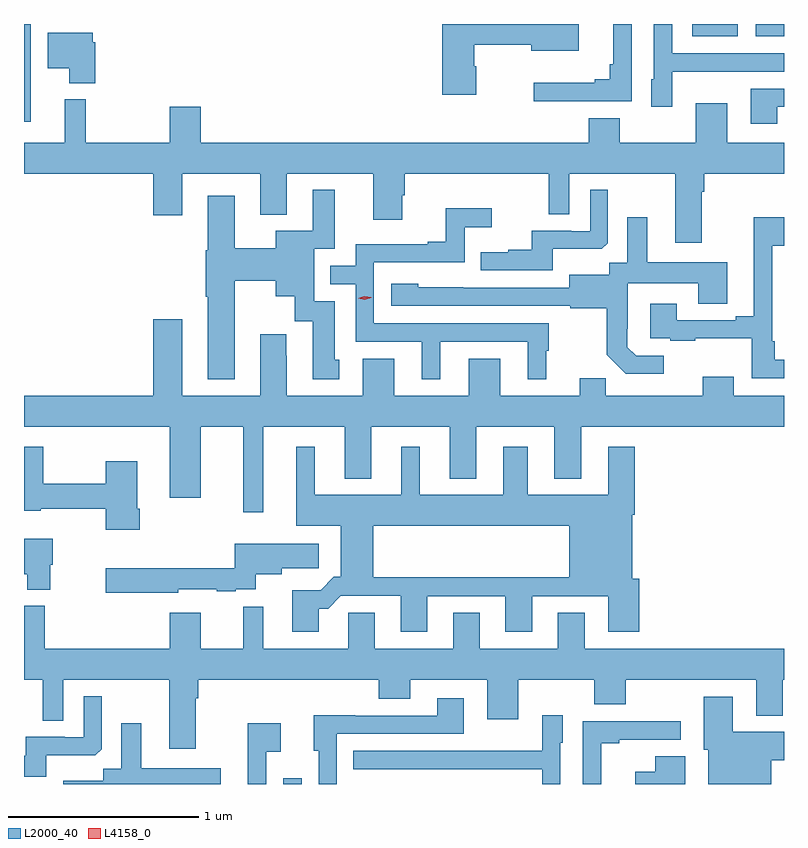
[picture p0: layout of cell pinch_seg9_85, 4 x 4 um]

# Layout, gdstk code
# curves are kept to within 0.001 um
import gdstk
lib = gdstk.Library(unit=1e-6, precision=1e-09)
def R(c, l, rs):  # rectangles x0, y0, x1, y1
    for r in rs: c.add(gdstk.rectangle(r[:2], r[2:], *l))
def P(c, l, *ps):  # polygons
    for p in ps: c.add(gdstk.Polygon(p, *l))
L2000_40 = (2000, 40)
L4158_0 = (4158, 0)

pinch_seg9_85 = lib.new_cell('pinch_seg9_85')
R(pinch_seg9_85, L2000_40, [(1112.658,1194.54,1112.754,1194.571), (1111.293,1198.026,1111.329,1198.54), (1114.811,1198.475,1115.05,1198.54), (1115.144,1198.475,1115.293,1198.54)])
P(pinch_seg9_85, L2000_40, [(1114.704,1198.289),(1115.021,1198.289),(1115.021,1198.29),(1115.293,1198.29),(1115.293,1198.386),(1114.704,1198.386),(1114.704,1198.54),(1114.608,1198.54),(1114.608,1198.248),(1114.595,1198.248),(1114.595,1198.104),(1114.704,1198.104)],
  [(1113.672,1198.317),(1113.664,1198.317),(1113.664,1198.432),(1113.962,1198.432),(1113.962,1198.4),(1114.213,1198.4),(1114.213,1198.54),(1113.494,1198.54),(1113.494,1198.167),(1113.672,1198.167)],
  [(1114.491,1198.54),(1114.394,1198.54),(1114.394,1198.327),(1114.375,1198.327),(1114.375,1198.25),(1114.298,1198.25),(1114.298,1198.231),(1113.975,1198.231),(1113.975,1198.134),(1114.491,1198.134)],
  [(1111.667,1198.443),(1111.654,1198.443),(1111.654,1198.495),(1111.418,1198.495),(1111.418,1198.307),(1111.532,1198.307),(1111.532,1198.229),(1111.667,1198.229)],
  [(1115.257,1198.104),(1115.293,1198.104),(1115.293,1198.2),(1115.117,1198.2),(1115.117,1198.014),(1115.257,1198.014)],
  [(1114.861,1197.656),(1114.874,1197.656),(1114.874,1197.752),(1115.293,1197.752),(1115.293,1197.916),(1114.993,1197.916),(1114.993,1198.123),(1114.829,1198.123),(1114.829,1197.916),(1114.429,1197.916),(1114.429,1198.045),(1114.265,1198.045),(1114.265,1197.916),(1112.224,1197.916),(1112.224,1198.105),(1112.06,1198.105),(1112.06,1197.916),(1111.618,1197.916),(1111.618,1198.144),(1111.508,1198.144),(1111.508,1197.916),(1111.293,1197.916),(1111.293,1197.752),(1111.973,1197.752),(1111.973,1197.534),(1112.125,1197.534),(1112.125,1197.752),(1112.537,1197.752),(1112.537,1197.536),(1112.677,1197.536),(1112.677,1197.752),(1113.131,1197.752),(1113.131,1197.51),(1113.283,1197.51),(1113.283,1197.639),(1113.296,1197.639),(1113.296,1197.752),(1114.056,1197.752),(1114.056,1197.538),(1114.164,1197.538),(1114.164,1197.752),(1114.721,1197.752),(1114.721,1197.39),(1114.861,1197.39)],
  [(1112.401,1197.188),(1112.618,1197.188),(1112.618,1197.107),(1112.717,1197.107),(1112.717,1196.976),(1112.813,1196.976),(1112.813,1196.67),(1112.953,1196.67),(1112.953,1196.772),(1112.929,1196.772),(1112.929,1197.081),(1112.82,1197.081),(1112.82,1197.357),(1112.929,1197.357),(1112.929,1197.667),(1112.813,1197.667),(1112.813,1197.451),(1112.618,1197.451),(1112.618,1197.36),(1112.401,1197.36),(1112.401,1197.637),(1112.261,1197.637),(1112.261,1197.348),(1112.249,1197.348),(1112.249,1197.104),(1112.261,1197.104),(1112.261,1196.669),(1112.401,1196.669)],
  [(1114.075,1197.356),(1114.333,1197.356),(1114.365,1197.387),(1114.365,1197.667),(1114.272,1197.667),(1114.272,1197.45),(1114.172,1197.45),(1114.172,1197.453),(1113.965,1197.453),(1113.965,1197.352),(1113.841,1197.352),(1113.841,1197.34),(1113.697,1197.34),(1113.697,1197.243),(1114.075,1197.243)],
  [(1113.484,1196.868),(1113.944,1196.868),(1113.944,1196.669),(1114.042,1196.669),(1114.042,1196.82),(1114.054,1196.82),(1114.054,1196.964),(1113.135,1196.964),(1113.135,1197.285),(1113.612,1197.285),(1113.612,1197.47),(1113.754,1197.47),(1113.754,1197.569),(1113.514,1197.569),(1113.514,1197.394),(1113.419,1197.394),(1113.419,1197.381),(1113.039,1197.381),(1113.039,1197.267),(1112.906,1197.267),(1112.906,1197.171),(1113.039,1197.171),(1113.039,1196.868),(1113.386,1196.868),(1113.386,1196.669),(1113.484,1196.669)],
  [(1114.66,1196.793),(1114.515,1196.793),(1114.468,1196.84),(1114.468,1196.935),(1114.47,1196.935),(1114.47,1197.176),(1114.841,1197.176),(1114.841,1197.067),(1114.993,1197.067),(1114.993,1197.286),(1114.573,1197.286),(1114.573,1197.523),(1114.469,1197.523),(1114.469,1197.284),(1114.374,1197.284),(1114.374,1197.22),(1114.163,1197.22),(1114.163,1197.153),(1113.369,1197.154),(1113.369,1197.172),(1113.225,1197.172),(1113.225,1197.057),(1114.167,1197.057),(1114.167,1197.045),(1114.359,1197.045),(1114.359,1196.799),(1114.459,1196.699),(1114.66,1196.699)],
  [(1115.293,1196.773),(1115.245,1196.773),(1115.245,1196.869),(1115.232,1196.869),(1115.232,1197.374),(1115.293,1197.374),(1115.293,1197.523),(1115.135,1197.523),(1115.135,1197.001),(1115.039,1197.001),(1115.039,1196.982),(1114.729,1196.982),(1114.729,1197.067),(1114.589,1197.067),(1114.589,1196.886),(1114.693,1196.886),(1114.693,1196.874),(1114.825,1196.874),(1114.825,1196.885),(1115.124,1196.885),(1115.124,1196.676),(1115.293,1196.676)],
  [(1114.225,1196.42),(1115.293,1196.42),(1115.293,1196.584),(1115.029,1196.584),(1115.029,1196.683),(1114.865,1196.683),(1114.865,1196.584),(1114.355,1196.584),(1114.355,1196.675),(1114.217,1196.675),(1114.217,1196.584),(1113.799,1196.584),(1113.799,1196.779),(1113.635,1196.779),(1113.635,1196.584),(1113.241,1196.584),(1113.241,1196.779),(1113.077,1196.779),(1113.077,1196.584),(1112.677,1196.584),(1112.677,1196.795),(1112.674,1196.795),(1112.674,1196.908),(1112.537,1196.908),(1112.537,1196.584),(1112.125,1196.584),(1112.125,1196.986),(1111.973,1196.986),(1111.973,1196.584),(1111.293,1196.584),(1111.293,1196.42),(1112.06,1196.42),(1112.06,1196.046),(1112.224,1196.046),(1112.224,1196.42),(1112.447,1196.42),(1112.447,1195.971),(1112.551,1195.971),(1112.551,1196.42),(1112.981,1196.42),(1112.981,1196.147),(1113.121,1196.147),(1113.121,1196.42),(1113.533,1196.42),(1113.533,1196.147),(1113.673,1196.147),(1113.673,1196.42),(1114.085,1196.42),(1114.085,1196.147),(1114.225,1196.147)],
  [(1112.705,1195.561),(1112.705,1195.341),(1112.845,1195.341),(1112.845,1195.463),(1112.894,1195.463),(1112.961,1195.53),(1113.275,1195.53),(1113.275,1195.341),(1113.415,1195.341),(1113.415,1195.527),(1113.827,1195.527),(1113.827,1195.341),(1113.967,1195.341),(1113.967,1195.527),(1114.367,1195.527),(1114.367,1195.341),(1114.532,1195.341),(1114.532,1195.62),(1114.495,1195.62),(1114.495,1195.958),(1114.508,1195.958),(1114.508,1196.314),(1114.367,1196.314),(1114.367,1196.062),(1113.943,1196.062),(1113.943,1196.314),(1113.815,1196.314),(1113.815,1196.062),(1113.376,1196.062),(1113.376,1196.314),(1113.278,1196.314),(1113.278,1196.062),(1112.824,1196.062),(1112.824,1196.314),(1112.726,1196.314),(1112.726,1195.898),(1112.96,1195.898),(1112.96,1195.631),(1112.924,1195.631),(1112.921,1195.628),(1113.131,1195.628),(1113.131,1195.898),(1114.163,1195.898),(1114.163,1195.628),(1112.921,1195.628),(1112.854,1195.561)],
  [(1111.901,1195.99),(1111.888,1195.99),(1111.888,1196.239),(1111.723,1196.239),(1111.723,1196.119),(1111.393,1196.119),(1111.393,1196.314),(1111.293,1196.314),(1111.293,1195.979),(1111.381,1195.979),(1111.381,1195.99),(1111.723,1195.99),(1111.723,1195.878),(1111.901,1195.878)],
  [(1111.432,1195.695),(1111.444,1195.695),(1111.444,1195.831),(1111.293,1195.831),(1111.293,1195.643),(1111.31,1195.643),(1111.31,1195.562),(1111.432,1195.562)],
  [(1112.106,1195.566),(1112.307,1195.566),(1112.307,1195.554),(1112.408,1195.554),(1112.408,1195.566),(1112.513,1195.566),(1112.513,1195.643),(1112.65,1195.643),(1112.65,1195.675),(1112.845,1195.675),(1112.845,1195.804),(1112.403,1195.804),(1112.403,1195.675),(1111.722,1195.675),(1111.722,1195.546),(1112.106,1195.546)],
  [(1111.293,1195.088),(1111.392,1195.088),(1111.392,1194.874),(1111.5,1194.874),(1111.5,1195.088),(1112.057,1195.088),(1112.057,1194.726),(1112.197,1194.726),(1112.197,1194.992),(1112.21,1194.992),(1112.21,1195.088),(1113.161,1195.088),(1113.161,1194.989),(1113.325,1194.989),(1113.325,1195.088),(1113.731,1195.088),(1113.731,1194.882),(1113.895,1194.882),(1113.895,1195.088),(1114.295,1195.088),(1114.295,1194.96),(1114.459,1194.96),(1114.459,1195.088),(1115.147,1195.088),(1115.147,1194.899),(1115.287,1194.899),(1115.287,1195.088),(1115.293,1195.088),(1115.293,1195.252),(1114.243,1195.252),(1114.243,1195.442),(1114.103,1195.442),(1114.103,1195.252),(1113.691,1195.252),(1113.691,1195.442),(1113.551,1195.442),(1113.551,1195.252),(1113.139,1195.252),(1113.139,1195.442),(1113,1195.442),(1113,1195.252),(1112.551,1195.252),(1112.551,1195.474),(1112.447,1195.474),(1112.447,1195.252),(1112.224,1195.252),(1112.224,1195.441),(1112.06,1195.441),(1112.06,1195.252),(1111.403,1195.252),(1111.403,1195.477),(1111.293,1195.477)],
  [(1111.411,1194.692),(1111.669,1194.692),(1111.701,1194.723),(1111.701,1195.003),(1111.608,1195.003),(1111.608,1194.786),(1111.508,1194.786),(1111.508,1194.789),(1111.301,1194.789),(1111.301,1194.688),(1111.293,1194.688),(1111.293,1194.579),(1111.411,1194.579)],
  [(1115.227,1194.665),(1115.293,1194.665),(1115.293,1194.814),(1115.023,1194.814),(1115.023,1195),(1114.871,1195),(1114.871,1194.72),(1114.895,1194.72),(1114.895,1194.54),(1115.227,1194.54)],
  [(1112.94,1194.804),(1113.607,1194.804),(1113.607,1194.991),(1113.467,1194.991),(1113.467,1194.9),(1113.037,1194.9),(1113.037,1194.902),(1112.819,1194.902),(1112.819,1194.714),(1112.844,1194.714),(1112.844,1194.54),(1112.94,1194.54)],
  [(1114.116,1194.756),(1114.129,1194.756),(1114.129,1194.901),(1114.02,1194.901),(1114.02,1194.715),(1113.703,1194.715),(1113.703,1194.714),(1113.025,1194.714),(1113.025,1194.618),(1114.02,1194.618),(1114.02,1194.54),(1114.116,1194.54)],
  [(1114.331,1194.754),(1114.426,1194.754),(1114.426,1194.774),(1114.75,1194.774),(1114.75,1194.87),(1114.233,1194.87),(1114.233,1194.54),(1114.331,1194.54)],
  [(1112.568,1194.71),(1112.644,1194.71),(1112.644,1194.859),(1112.471,1194.859),(1112.471,1194.54),(1112.568,1194.54)],
  [(1112.329,1194.622),(1111.909,1194.622),(1111.909,1194.859),(1111.805,1194.859),(1111.805,1194.62),(1111.71,1194.62),(1111.71,1194.556),(1111.499,1194.556),(1111.499,1194.54),(1112.329,1194.54)],
  [(1114.774,1194.685),(1114.616,1194.685),(1114.616,1194.604),(1114.511,1194.604),(1114.511,1194.54),(1114.774,1194.54)])
P(pinch_seg9_85, L4158_0, [(1113.086,1197.088),(1113.051,1197.096),(1113.05,1197.096),(1113.051,1197.097),(1113.084,1197.108),(1113.12,1197.101),(1113.12,1197.1),(1113.12,1197.1)])

lib.write_gds('pinch_seg9_85.gds')
